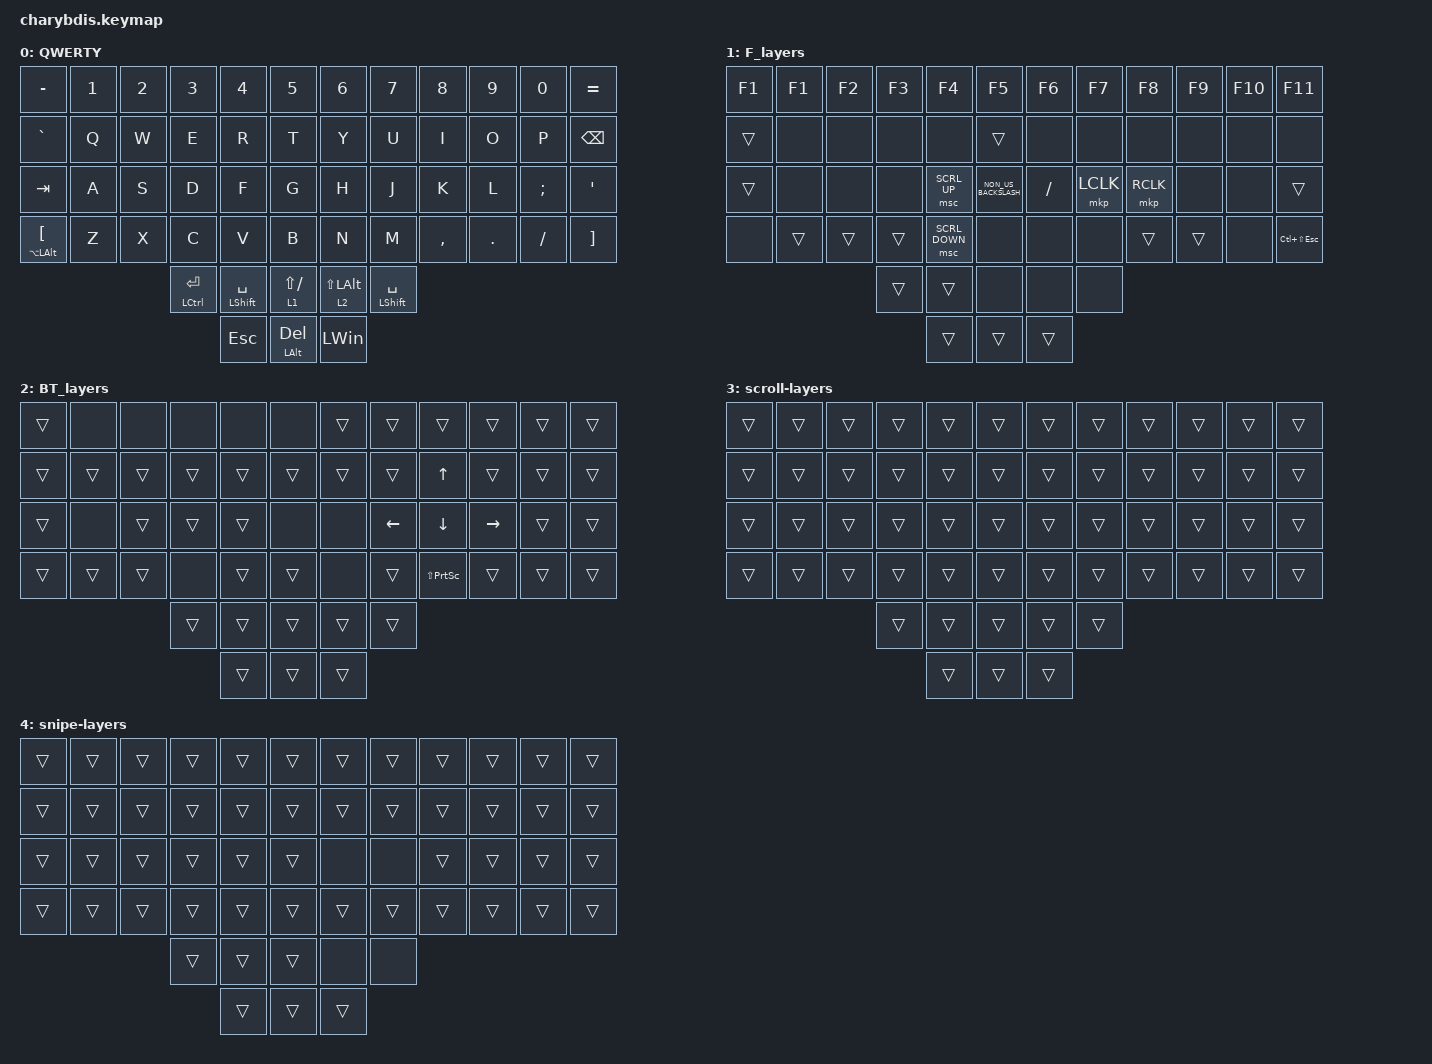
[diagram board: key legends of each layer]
#include <behaviors.dtsi>
#include <dt-bindings/zmk/keys.h>
#include <dt-bindings/zmk/pointing.h>
#include <dt-bindings/zmk/rgb.h>

&lt {
    tapping-term-ms = <200>;
    flavor = "balanced";
    quick-tap-ms = <150>;
};

/ {
    macros {
        To1_macro: To1_macro {
            compatible = "zmk,behavior-macro";
            label = "To1_macro";
            #binding-cells = <0>;
            bindings = <&rgb_ug RGB_EFF &rgb_ug RGB_COLOR_HSB(128,100,50) &to 1>;
        };

        To0_macro: To0_macro {
            compatible = "zmk,behavior-macro";
            label = "To0_macro";
            #binding-cells = <0>;
            bindings = <&rgb_ug RGB_EFR &to 0>;
        };

        To2_macro: To2_macro {
            compatible = "zmk,behavior-macro";
            label = "To2_macro";
            #binding-cells = <0>;
            bindings =
                <&to 2>,
                <&macro_wait_time 30>,
                <&rgb_ug RGB_COLOR_HSB(250,100,50)>;
        };

        mouse_sensivity: mouse_sensivity {
            compatible = "zmk,behavior-macro";
            #binding-cells = <0>;
            bindings = <&macro_release>, <&mmv MOVE_X(0) &mmv MOVE_Y(0)>;

            label = "MOUSE_SENSIVITY";
        };
    };

    keymap {
        compatible = "zmk,keymap";

        QWERTY {
            bindings = <
&kp MINUS                      &kp N1  &kp N2  &kp N3                  &kp N4                &kp N5                 &kp N6              &kp N7                &kp N8     &kp N9   &kp N0    &kp EQUAL
&kp GRAVE                      &kp Q   &kp W   &kp E                   &kp R                 &kp T                  &kp Y               &kp U                 &kp I      &kp O    &kp P     &kp BACKSPACE
&kp TAB                        &kp A   &kp S   &kp D                   &kp F                 &kp G                  &kp H               &kp J                 &kp K      &kp L    &kp SEMI  &kp SQT
&mt LA(LEFT_ALT) LEFT_BRACKET  &kp Z   &kp X   &kp C                   &kp V                 &kp B                  &kp N               &kp M                 &kp COMMA  &kp DOT  &kp FSLH  &kp RIGHT_BRACKET
                                               &mt LEFT_CONTROL ENTER  &mt LEFT_SHIFT SPACE  &lt 1 LS(SLASH)        &lt 2 LS(LEFT_ALT)  &mt LEFT_SHIFT SPACE
                                                                       &kp ESCAPE            &mt LEFT_ALT DELETE    &kp LEFT_WIN
            >;
        };

        F_layers {
            bindings = <
&kp F1  &kp F1  &kp F2  &kp F3  &kp F4          &kp F5                  &kp F6     &kp F7     &kp F8     &kp F9  &kp F10  &kp F11
&trans  &none   &none   &none   &none           &trans                  &none      &none      &none      &none   &none    &none
&trans  &none   &none   &none   &msc SCRL_UP    &kp NON_US_BACKSLASH    &kp SLASH  &mkp LCLK  &mkp RCLK  &none   &none    &trans
&none   &trans  &trans  &trans  &msc SCRL_DOWN  &none                   &none      &none      &trans     &trans  &none    &kp LC(LS(ESCAPE))
                        &trans  &trans          &none                   &none      &none
                                &trans          &trans                  &trans
            >;
        };

        BT_layers {
            bindings = <
&trans  &none   &none   &none   &none   &none     &trans  &trans          &trans               &trans     &trans  &trans
&trans  &trans  &trans  &trans  &trans  &trans    &trans  &trans          &kp UP_ARROW         &trans     &trans  &trans
&trans  &none   &trans  &trans  &trans  &none     &none   &kp LEFT_ARROW  &kp DOWN             &kp RIGHT  &trans  &trans
&trans  &trans  &trans  &none   &trans  &trans    &none   &trans          &kp LS(PRINTSCREEN)  &trans     &trans  &trans
                        &trans  &trans  &trans    &trans  &trans
                                &trans  &trans    &trans
            >;
        };

        scroll-layers {
            bindings = <
&trans  &trans  &trans  &trans  &trans  &trans    &trans  &trans  &trans  &trans  &trans  &trans
&trans  &trans  &trans  &trans  &trans  &trans    &trans  &trans  &trans  &trans  &trans  &trans
&trans  &trans  &trans  &trans  &trans  &trans    &trans  &trans  &trans  &trans  &trans  &trans
&trans  &trans  &trans  &trans  &trans  &trans    &trans  &trans  &trans  &trans  &trans  &trans
                        &trans  &trans  &trans    &trans  &trans
                                &trans  &trans    &trans
            >;
        };

        snipe-layers {
            bindings = <
&trans  &trans  &trans  &trans  &trans  &trans    &trans  &trans  &trans  &trans  &trans  &trans
&trans  &trans  &trans  &trans  &trans  &trans    &trans  &trans  &trans  &trans  &trans  &trans
&trans  &trans  &trans  &trans  &trans  &trans    &none   &none   &trans  &trans  &trans  &trans
&trans  &trans  &trans  &trans  &trans  &trans    &trans  &trans  &trans  &trans  &trans  &trans
                        &trans  &trans  &trans    &none   &none
                                &trans  &trans    &trans
            >;
        };
    };
};
